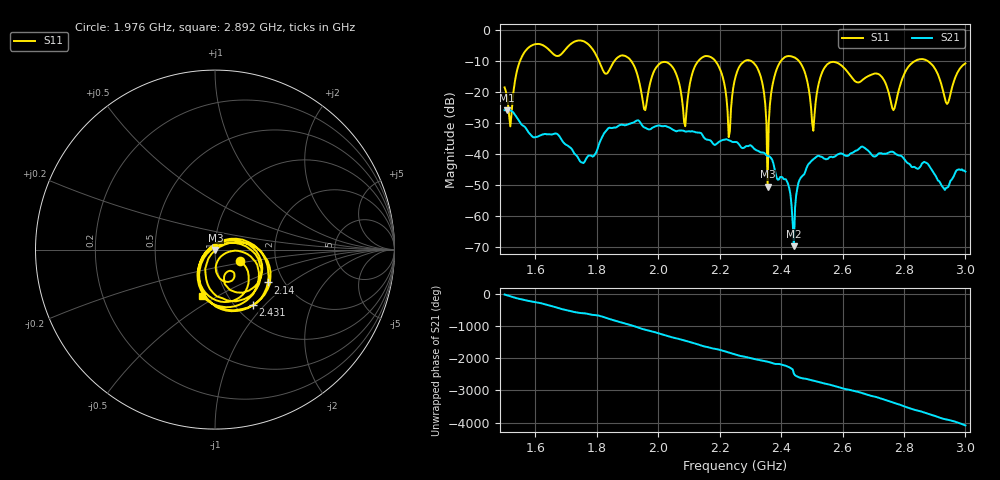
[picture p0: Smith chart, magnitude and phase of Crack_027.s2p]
# HZ S RI R 50
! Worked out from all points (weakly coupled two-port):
!   404 points, 1.5 GHz to 3 GHz, reference 50 ohm
!   highest |S21| = -25.93 dB at 1.507 GHz (marker M1); lowest = -69.8 dB at 2.442 GHz (marker M2)
!   lowest |S11| = -50.6 dB at 2.356 GHz (marker M3), VSWR 1.01, Z = 50.3 - j0.155 ohm
!   |S11| at or under -10 dB: 1.911 GHz to 2.132 GHz (220.2 MHz wide, 10.9 % of centre); 2.457 GHz to 2.838 GHz (381 MHz wide, 14.4 % of centre); 2.876 GHz to end of sweep (the widest 3 of 7)
!   S12 and S22 are empty: the file has one direction only
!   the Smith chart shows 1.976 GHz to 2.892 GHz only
!   S11 on the Smith chart (normalised r, x): 1.976 GHz: 1.32, -0.17; 2.14 GHz: 1.66, -0.69; 2.431 GHz: 1.20, -0.86; 2.892 GHz: 0.76, -0.43
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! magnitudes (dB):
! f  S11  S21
! 1.5 GHz  -18.6  -26.0
! 1.507 GHz  -21.4  -25.9
! 1.582 GHz  -5.5  -33.6
! 1.753 GHz  -3.6  -42.9
! 1.976 GHz  -16.2  -32.0
! 2.002 GHz  -11.1  -30.9
! 2.088 GHz  -31.1  -32.8
! 2.14 GHz  -9.2  -33.4
! 2.2 GHz  -12.4  -36.0
! 2.23 GHz  -34.6  -35.6
! 2.252 GHz  -15.1  -36.2
! 2.319 GHz  -11.7  -38.8
! 2.356 GHz  -50.6  -40.8
! 2.382 GHz  -13.8  -46.3
! 2.431 GHz  -8.5  -53.1
! 2.442 GHz  -8.9  -69.8
! 2.501 GHz  -30.0  -42.1
! 2.565 GHz  -10.4  -41.0
! 2.751 GHz  -20.4  -39.6
! 2.892 GHz  -11.3  -45.4
! 2.94 GHz  -23.9  -50.9
! 3 GHz  -10.9  -45.7
